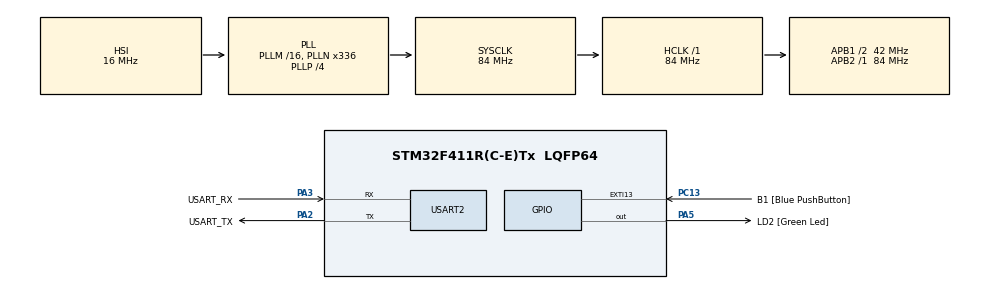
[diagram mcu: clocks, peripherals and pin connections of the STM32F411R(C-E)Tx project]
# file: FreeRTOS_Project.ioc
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FREERTOS.Mutexes01=Mutex01,Dynamic,NULL
FREERTOS.Tasks01=Task1,24,128,StartTask1,Default,NULL,Dynamic,NULL,NULL;Task2,24,128,StartTask2,Default,NULL,Dynamic,NULL,NULL
FREERTOS.configUSE_NEWLIB_REENTRANT=1
Mcu.Family=STM32F4
Mcu.Name=STM32F411R(C-E)Tx
Mcu.Package=LQFP64
NVIC.PriorityGroup=NVIC_PRIORITYGROUP_4
NVIC.TIM2_IRQn=true\:15\:0\:false\:false\:true\:false\:false\:true\:true
NVIC.TimeBase=TIM2_IRQn
NVIC.TimeBaseIP=TIM2
PA13.GPIO_Label=TMS
PA13.Mode=Serial_Wire
PA13.Signal=SYS_JTMS-SWDIO
PA14.GPIO_Label=TCK
PA14.Mode=Serial_Wire
PA14.Signal=SYS_JTCK-SWCLK
PA2.GPIO_Label=USART_TX
PA2.Mode=Asynchronous
PA2.Signal=USART2_TX
PA3.GPIO_Label=USART_RX
PA3.Mode=Asynchronous
PA3.Signal=USART2_RX
PA5.GPIO_Label=LD2 [Green Led]
PA5.Signal=GPIO_Output
PB3.GPIO_Label=SWO
PB3.Signal=SYS_JTDO-SWO
PC13-ANTI_TAMP.GPIO_Label=B1 [Blue PushButton]
PC13-ANTI_TAMP.GPIO_ModeDefaultEXTI=GPIO_MODE_IT_FALLING
PC13-ANTI_TAMP.Signal=GPXTI13
PC14-OSC32_IN.Mode=LSE-External-Oscillator
PC14-OSC32_IN.Signal=RCC_OSC32_IN
PC15-OSC32_OUT.Mode=LSE-External-Oscillator
PC15-OSC32_OUT.Signal=RCC_OSC32_OUT
PH0\ -\ OSC_IN.Mode=HSE-External-Clock-Source
PH0\ -\ OSC_IN.Signal=RCC_OSC_IN
PH1\ -\ OSC_OUT.Mode=HSE-External-Clock-Source
PH1\ -\ OSC_OUT.Signal=RCC_OSC_OUT
ProjectManager.HeapSize=0x200
ProjectManager.StackSize=0x400
ProjectManager.TargetToolchain=STM32CubeIDE
RCC.48MHZClocksFreq_Value=84000000
RCC.AHBFreq_Value=84000000
RCC.APB1CLKDivider=RCC_HCLK_DIV2
RCC.APB1Freq_Value=42000000
RCC.APB1TimFreq_Value=84000000
RCC.APB2Freq_Value=84000000
RCC.APB2TimFreq_Value=84000000
RCC.CortexFreq_Value=84000000
RCC.FLatency-AdvancedSettings=FLASH_LATENCY_2
RCC.HCLKFreq_Value=84000000
RCC.HSE_VALUE=8000000
RCC.HSI_VALUE=16000000
RCC.PLLN=336
RCC.PLLP=RCC_PLLP_DIV4
RCC.SYSCLKFreq_VALUE=84000000
RCC.SYSCLKSource=RCC_SYSCLKSOURCE_PLLCLK
RCC.VCOOutputFreq_Value=336000000
USART2.VirtualMode=VM_ASYNC
VP_FREERTOS_VS_CMSIS_V2.Mode=CMSIS_V2
VP_SYS_VS_tim2.Mode=TIM2
board=NUCLEO-F411RE

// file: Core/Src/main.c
/* USER CODE BEGIN Header */
/**
  ******************************************************************************
  * @file           : main.c
  * @brief          : Main program body
  ******************************************************************************
  * @attention
  *
  * Copyright (c) 2023 STMicroelectronics.
  * All rights reserved.
  *
  * This software is licensed under terms that can be found in the LICENSE file
  * in the root directory of this software component.
  * If no LICENSE file comes with this software, it is provided AS-IS.
  *
  ******************************************************************************
  */
/* USER CODE END Header */
#include "main.h"
#include "cmsis_os.h"

/* USER CODE BEGIN Includes */
#include <stdio.h>
/* USER CODE END Includes */

UART_HandleTypeDef huart2;

/* Definitions for Task1 */
osThreadId_t Task1Handle;
const osThreadAttr_t Task1_attributes = {
  .name = "Task1",
  .stack_size = 128 * 4,
  .priority = (osPriority_t) osPriorityNormal,
};
/* Definitions for Task2 */
osThreadId_t Task2Handle;
const osThreadAttr_t Task2_attributes = {
  .name = "Task2",
  .stack_size = 128 * 4,
  .priority = (osPriority_t) osPriorityNormal,
};
/* Definitions for Mutex01 */
osMutexId_t Mutex01Handle;
const osMutexAttr_t Mutex01_attributes = {
  .name = "Mutex01"
};

void SystemClock_Config(void);
static void MX_GPIO_Init(void);
static void MX_USART2_UART_Init(void);
void StartTask1(void *argument);
void StartTask2(void *argument);

/* USER CODE BEGIN 0 */
int __io_putchar(int ch)
{
	HAL_UART_Transmit(&huart2, (uint8_t*)&ch, 1, HAL_MAX_DELAY);
	return ch;
}
int count = 0;
/* USER CODE END 0 */

int main(void)
{

  /* MCU Configuration--------------------------------------------------------*/

  /* Reset of all peripherals, Initializes the Flash interface and the Systick. */
  HAL_Init();

  /* Configure the system clock */
  SystemClock_Config();

  /* Initialize all configured peripherals */
  MX_GPIO_Init();
  MX_USART2_UART_Init();
  /* USER CODE BEGIN 2 */
  printf("Kernel Init\r\n");

  uint32_t num = 1234;
  Task1Handle = osThreadNew(StartTask1, &num, &Task1_attributes);
  Task2Handle = osThreadNew(StartTask2, NULL, &Task2_attributes);
  printf("Task Init Successful\r\n");
  /* USER CODE END 2 */

  /* Init scheduler */
  osKernelInitialize();
/* USER CODE BEGIN Header */
/**
  ******************************************************************************
  * @file           : main.c
  * @brief          : Main program body
  ******************************************************************************
  * @attention
  *
  * Copyright (c) 2023 STMicroelectronics.
  * All rights reserved.
  *
  * This software is licensed under terms that can be found in the LICENSE file
  * in the root directory of this software component.
  * If no LICENSE file comes with this software, it is provided AS-IS.
  *
  ******************************************************************************
  */
/* USER CODE END Header */

  /* Start scheduler */
  osKernelStart();

  /* We should never get here as control is now taken by the scheduler */
  /* Infinite loop */
  while (1)
  {

  }
}

void SystemClock_Config(void)
{
  RCC_OscInitTypeDef RCC_OscInitStruct = {0};
  RCC_ClkInitTypeDef RCC_ClkInitStruct = {0};

  /** Configure the main internal regulator output voltage
  */
  __HAL_RCC_PWR_CLK_ENABLE();
  __HAL_PWR_VOLTAGESCALING_CONFIG(PWR_REGULATOR_VOLTAGE_SCALE1);

  /** Initializes the RCC Oscillators according to the specified parameters
  * in the RCC_OscInitTypeDef structure.
  */
  RCC_OscInitStruct.OscillatorType = RCC_OSCILLATORTYPE_HSI;
  RCC_OscInitStruct.HSIState = RCC_HSI_ON;
  RCC_OscInitStruct.HSICalibrationValue = RCC_HSICALIBRATION_DEFAULT;
  RCC_OscInitStruct.PLL.PLLState = RCC_PLL_ON;
  RCC_OscInitStruct.PLL.PLLSource = RCC_PLLSOURCE_HSI;
  RCC_OscInitStruct.PLL.PLLM = 16;
  RCC_OscInitStruct.PLL.PLLN = 336;
  RCC_OscInitStruct.PLL.PLLP = RCC_PLLP_DIV4;
  RCC_OscInitStruct.PLL.PLLQ = 4;
  if (HAL_RCC_OscConfig(&RCC_OscInitStruct) != HAL_OK)
  {
    Error_Handler();
  }

  /** Initializes the CPU, AHB and APB buses clocks
  */
  RCC_ClkInitStruct.ClockType = RCC_CLOCKTYPE_HCLK|RCC_CLOCKTYPE_SYSCLK
                              |RCC_CLOCKTYPE_PCLK1|RCC_CLOCKTYPE_PCLK2;
  RCC_ClkInitStruct.SYSCLKSource = RCC_SYSCLKSOURCE_PLLCLK;
  RCC_ClkInitStruct.AHBCLKDivider = RCC_SYSCLK_DIV1;
  RCC_ClkInitStruct.APB1CLKDivider = RCC_HCLK_DIV2;
  RCC_ClkInitStruct.APB2CLKDivider = RCC_HCLK_DIV1;

  if (HAL_RCC_ClockConfig(&RCC_ClkInitStruct, FLASH_LATENCY_2) != HAL_OK)
  {
    Error_Handler();
  }
}

static void MX_USART2_UART_Init(void)
{

  huart2.Instance = USART2;
  huart2.Init.BaudRate = 115200;
  huart2.Init.WordLength = UART_WORDLENGTH_8B;
  huart2.Init.StopBits = UART_STOPBITS_1;
  huart2.Init.Parity = UART_PARITY_NONE;
  huart2.Init.Mode = UART_MODE_TX_RX;
  huart2.Init.HwFlowCtl = UART_HWCONTROL_NONE;
  huart2.Init.OverSampling = UART_OVERSAMPLING_16;
  if (HAL_UART_Init(&huart2) != HAL_OK)
  {
    Error_Handler();
  }

}

static void MX_GPIO_Init(void)
{
  GPIO_InitTypeDef GPIO_InitStruct = {0};

  /* GPIO Ports Clock Enable */
  __HAL_RCC_GPIOC_CLK_ENABLE();
  __HAL_RCC_GPIOH_CLK_ENABLE();
  __HAL_RCC_GPIOA_CLK_ENABLE();
  __HAL_RCC_GPIOB_CLK_ENABLE();

  /*Configure GPIO pin Output Level */
  HAL_GPIO_WritePin(LD2_GPIO_Port, LD2_Pin, GPIO_PIN_RESET);

  /*Configure GPIO pin : B1_Pin */
  GPIO_InitStruct.Pin = B1_Pin;
  GPIO_InitStruct.Mode = GPIO_MODE_IT_FALLING;
  GPIO_InitStruct.Pull = GPIO_NOPULL;
  HAL_GPIO_Init(B1_GPIO_Port, &GPIO_InitStruct);

  /*Configure GPIO pin : LD2_Pin */
  GPIO_InitStruct.Pin = LD2_Pin;
  GPIO_InitStruct.Mode = GPIO_MODE_OUTPUT_PP;
  GPIO_InitStruct.Pull = GPIO_NOPULL;
  GPIO_InitStruct.Speed = GPIO_SPEED_FREQ_LOW;
  HAL_GPIO_Init(LD2_GPIO_Port, &GPIO_InitStruct);

}

void StartTask1(void *argument)
{
  /* USER CODE BEGIN 5 */

  /* Infinite loop */
  for(;;)
  {
	osMutexAcquire(Mutex01Handle, osWaitForever);
	printf("Task 1 running\r\n");
	count++;
	printf("Count:%d\r\n", count);
	osMutexRelease(Mutex01Handle);
	osDelay(100);
  }
  osThreadTerminate(NULL);
  /* USER CODE END 5 */
}

void StartTask2(void *argument)
{
  for(;;)
  {
    osDelay(1);
  }
}

void HAL_TIM_PeriodElapsedCallback(TIM_HandleTypeDef *htim)
{
  if (htim->Instance == TIM2) {
    HAL_IncTick();
  }
}

void Error_Handler(void)
{
  __disable_irq();
  while (1)
  {
  }
}
